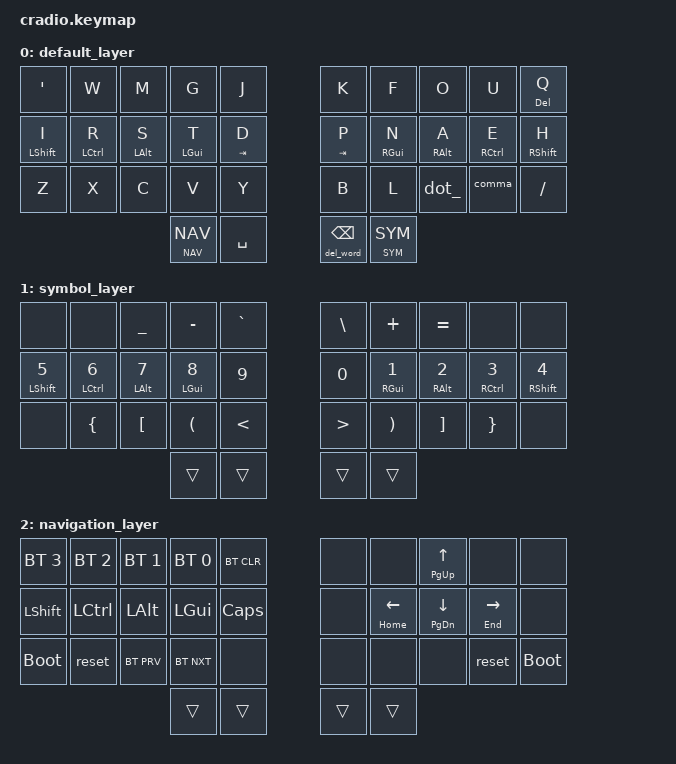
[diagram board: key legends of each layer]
#include <behaviors.dtsi>
#include <dt-bindings/zmk/keys.h>
#include <dt-bindings/zmk/bt.h>

//                KEY POSITIONS
// 
//          ╭────────────────────╮ ╭────────────────────╮
//          │  0   1   2   3   4 │ │  5   6   7   8   9 │
//          │ 10  11  12  13  14 │ │ 15  16  17  18  19 │
//          │ 20  21  22  23  24 │ │ 25  26  27  28  29 │
//          ╰──────────╮  30  31 │ │ 32  33  ╭──────────╯
//                     ╰─────────╯ ╰─────────╯           
// 

#define DEFAULT 0
#define SYM 1
#define NAV 2

#define QTms 175
#define TTms TTms


/ {
  combos {
    compatible = "zmk,combos";

    combo_esc {
      timeout-ms = <50>;
      // key-positions = <2 3>;
      key-positions = <22 23>;
      bindings = <&kp ESC>;
    };

    combo_entr {
      timeout-ms = <50>;
      // key-positions = <6 7>;
      key-positions = <26 27>;      
      bindings = <&kp ENTER>;
    };

    combo_default {
      timeout-ms = <50>;
      key-positions = <31 32>;      
      bindings = <&to DEFAULT>;
    };
  };

  macros {
    del_word: macro_del_word {
      compatible = "zmk,behavior-macro";
      label = "macro_del_word";
      #binding-cells = <0>;
      bindings
        = <&macro_press &kp LALT>
        , <&macro_tap &kp BSPC>
        , <&macro_release &kp LALT>
        ;
    };

    nextab: macro_nextab {
      compatible = "zmk,behavior-macro";
      label = "macro_nextab";
      #binding-cells = <0>;
      wait-ms = <20>;
      bindings
        = <&macro_press &kp LCTRL>
        , <&macro_tap &kp TAB>
        , <&macro_release &kp LCTRL>
        ;
    };

    prvtab: macro_prvtab {
      compatible = "zmk,behavior-macro";
      label = "macro_prvtab";
      #binding-cells = <0>;
      wait-ms = <20>;
      bindings
        = <&macro_press &kp LCTRL>
        , <&macro_press &kp LSHFT>
        , <&macro_tap &kp TAB>
        , <&macro_release &kp LSHFT>
        , <&macro_release &kp LCTRL>
        ;
    };

    // nextab: macro_nextab {
    //   compatible = "zmk,behavior-macro";
    //   label = "macro_nextab";
    //   #binding-cells = <0>;
    //   wait-ms = <20>;
    //   bindings
    //     = <&macro_press &kp LALT>
    //     , <&macro_press &kp LCMD>
    //     , <&macro_tap &kp RIGHT>
    //     , <&macro_release &kp LCMD>
    //     , <&macro_release &kp LALT>
    //     ;
    // };

    // prvtab: macro_prvtab {
    //   compatible = "zmk,behavior-macro";
    //   label = "macro_prvtab";
    //   #binding-cells = <0>;
    //   wait-ms = <20>;
    //   bindings
    //     = <&macro_press &kp LALT>
    //     , <&macro_press &kp LCMD>
    //     , <&macro_tap &kp LEFT>
    //     , <&macro_release &kp LCMD>
    //     , <&macro_release &kp LALT>
    //     ;
    // };
  };

  behaviors {
    // Hold-Taps (hold -> first binding)
    ht_bspc: delword_bspc {
      compatible = "zmk,behavior-hold-tap";
      label = "delword_bspc";
      #binding-cells = <2>;
      tapping-term-ms = <TTms>;
      quick-tap-ms = <QTms>;
      flavor = "tap-preferred";
      bindings = <&del_word>, <&kp>;
    };

    lh: layer_hold {
      compatible = "zmk,behavior-hold-tap";
      label = "layer_hold";
      #binding-cells = <2>;
      tapping-term-ms = <TTms>;
      flavor = "hold-preferred";
      bindings = <&mo>, <&tog>;
    };

    hm: home_modtap {
      compatible = "zmk,behavior-hold-tap";
      label = "home_modtap";
      #binding-cells = <2>;
      tapping-term-ms = <TTms>;
      quick-tap-ms = <QTms>;
      flavor = "tap-preferred";
      bindings = <&kp>, <&kp>;
    };
    
    nav: navigation_holdtap {
      compatible = "zmk,behavior-hold-tap";
      label = "navigation_holdtap";
      #binding-cells = <2>;
      tapping-term-ms = <(2*TTms)>;
      quick-tap-ms = <QTms>;
      global-quick-tap;
      flavor = "tap-preferred";
      bindings = <&kp>, <&kp>;
    };

    // Mod-Morphs (no mod -> first binding)
    comma_: comma_semicolon{
      compatible = "zmk,behavior-mod-morph";
      label = "comma^semicolon";
      #binding-cells = <0>;
      mods = <(MOD_LSFT|MOD_RSFT)>;
      bindings = <&kp COMMA>, <&kp SEMI>;
    };

    dot_: dot_colon{
      compatible = "zmk,behavior-mod-morph";
      label = "dot^colon";
      #binding-cells = <0>;
      mods = <(MOD_LSFT|MOD_RSFT)>;
      bindings = <&kp DOT>, <&kp COLON>;
    };

    spcbspc: space_backspace{
      compatible = "zmk,behavior-mod-morph";
      label = "space^backspace";
      #binding-cells = <0>;
      mods = <(MOD_LSFT|MOD_RSFT)>;
      bindings = <&kp SPACE>, <&kp BSPC>;
    };
  };

  keymap {
    compatible = "zmk,keymap";
    default_layer {
      bindings = <
        &kp SQT     &kp W       &kp M      &kp G       &kp J      &kp K           &kp F      &kp O      &kp U       &hm DEL Q
        &hm LSHFT I &hm LCTRL R &hm LALT S &hm LGUI T  &hm TAB D  &hm TAB P       &hm RGUI N &hm RALT A &hm RCTRL E &hm RSHFT H
        &kp Z       &kp X       &kp C      &kp V       &kp Y      &kp B           &kp L      &dot_      &comma_    &kp FSLH
                                           &lh NAV NAV &kp SPACE  &ht_bspc 0 BSPC &lh SYM SYM
      >;
    };

    // qwerty_layer {
    //   bindings = <
    //     &kp Q &kp W  &kp E  &kp R  &kp T  &kp Y  &kp U  &kp I  &kp O  &hm DEL P
    //     &hm LSHFT A &hm LCTRL S &hm LALT D &hm LGUI F &kp G &kp SQT &hm RGUI H &hm RALT J &hm RCTRL K &hm RSHFT L
    //     &kp Z &kp X &kp C &kp V &comma_ &dot_ &kp B &kp N &kp M &kp FSLH
    //     &lh NAV NAV &hm LSHFT SPACE &ht_bspc 0 BSPC &lh SYM SYM
    //   >;
    // };

    symbol_layer {
      bindings = <
        &none        &none        &kp UNDER   &kp MINUS   &kp GRAVE &kp BSLH &kp PLUS    &kp EQUAL   &none        &none
        &hm LSHFT N5 &hm LCTRL N6 &hm LALT N7 &hm LGUI N8 &kp N9    &kp N0   &hm RGUI N1 &hm RALT N2 &hm RCTRL N3 &hm RSHFT N4
        &none        &kp LBRC     &kp LBKT    &kp LPAR    &kp LT    &kp GT   &kp RPAR    &kp RBKT    &kp RBRC     &none
                                              &trans      &trans    &trans   &trans
      >;
    };

    navigation_layer {
      bindings = <
        &bt BT_SEL 3 &bt BT_SEL 2 &bt BT_SEL 1 &bt BT_SEL 0 &bt BT_CLR &none  &none          &nav PG_UP UP     &none          &none
        &kp LSHFT    &kp LCTRL    &kp LALT     &kp LGUI     &kp CAPS   &none  &nav HOME LEFT &nav PG_DN DOWN   &nav END RIGHT &none
        &bootloader  &reset       &bt BT_PRV   &bt BT_NXT   &none      &none  &none          &none             &reset         &bootloader
                                               &trans       &trans     &trans &trans
     >;
    };
  };
};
